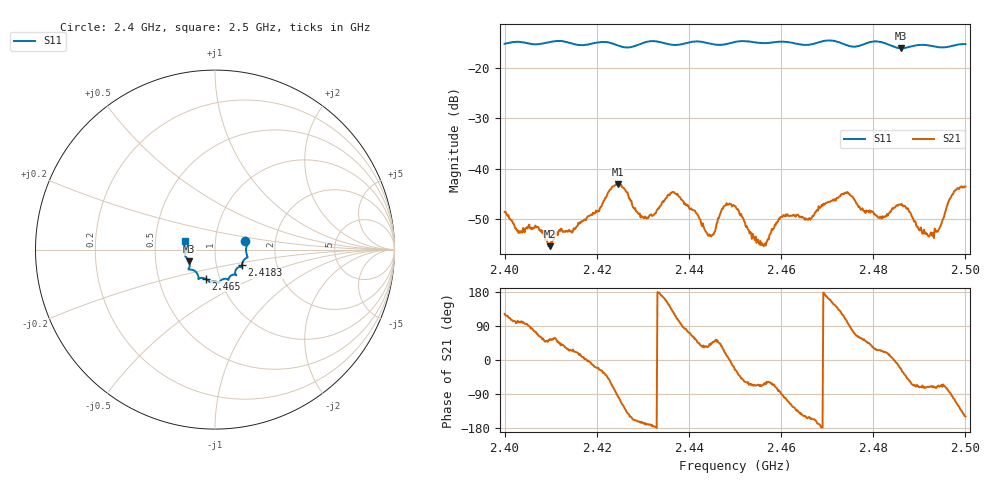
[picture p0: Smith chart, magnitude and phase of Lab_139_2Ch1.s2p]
# Hz S RI R 50
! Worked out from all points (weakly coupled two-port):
!   601 points, 2.4 GHz to 2.5 GHz, reference 50 ohm
!   highest |S21| = -43.00 dB at 2.4245 GHz (marker M1); lowest = -55.4 dB at 2.4098 GHz (marker M2)
!   lowest |S11| = -16.0 dB at 2.486 GHz (marker M3), VSWR 1.37, Z = 37.1 - j4.96 ohm
!   |S11| at or under -10 dB: start of sweep to end of sweep
!   S12 and S22 are empty: the file has one direction only
!   S11 on the Smith chart (normalised r, x): 2.4 GHz: 1.40, +0.13; 2.4183 GHz: 1.33, -0.24; 2.465 GHz: 0.86, -0.29; 2.5 GHz: 0.71, +0.07
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2.4e9  0.1686 0.0458  -0.00196 0.00317  0 0  0 0
2.402833e9  0.1799 0.0331  -0.000559 0.00238  0 0  0 0
2.409833e9  0.1786 -0.0338  0.000969 0.0014  0 0  0 0
2.416667e9  0.1549 -0.0685  0.00296 0.000497  0 0  0 0
2.418333e9  0.1498 -0.0869  0.00338 -0.000264  0 0  0 0
2.4245e9  0.1387 -0.096  -0.000495 -0.00706  0 0  0 0
2.429833e9  0.1133 -0.1355  -0.00319 -0.000787  0 0  0 0
2.433333e9  0.1169 -0.1412  -0.00404 0.000198  0 0  0 0
2.437e9  0.0901 -0.1441  -0.00261 0.00504  0 0  0 0
2.444667e9  0.0639 -0.1629  0.00168 0.00138  0 0  0 0
2.447667e9  0.0377 -0.1678  0.00397 0.00162  0 0  0 0
2.45e9  0.025 -0.1804  0.00382 -0.00188  0 0  0 0
2.456167e9  -0.00225 -0.1773  0.000708 -0.00156  0 0  0 0
2.46e9  -0.0277 -0.1813  4.73e-05 -0.00334  0 0  0 0
2.465e9  -0.0527 -0.1621  -0.00273 -0.0017  0 0  0 0
2.466667e9  -0.0713 -0.1576  -0.00296 -0.00134  0 0  0 0
2.474e9  -0.0952 -0.1419  -0.00173 0.0055  0 0  0 0
2.483333e9  -0.1422 -0.0959  0.00348 0.000862  0 0  0 0
2.486e9  -0.1438 -0.0651  0.00406 -0.00163  0 0  0 0
2.492667e9  -0.1649 -0.0223  0.000833 -0.00215  0 0  0 0
2.4975e9  -0.1652 0.0317  -0.00127 -0.00576  0 0  0 0
2.5e9  -0.167 0.0471  -0.00574 -0.00342  0 0  0 0
